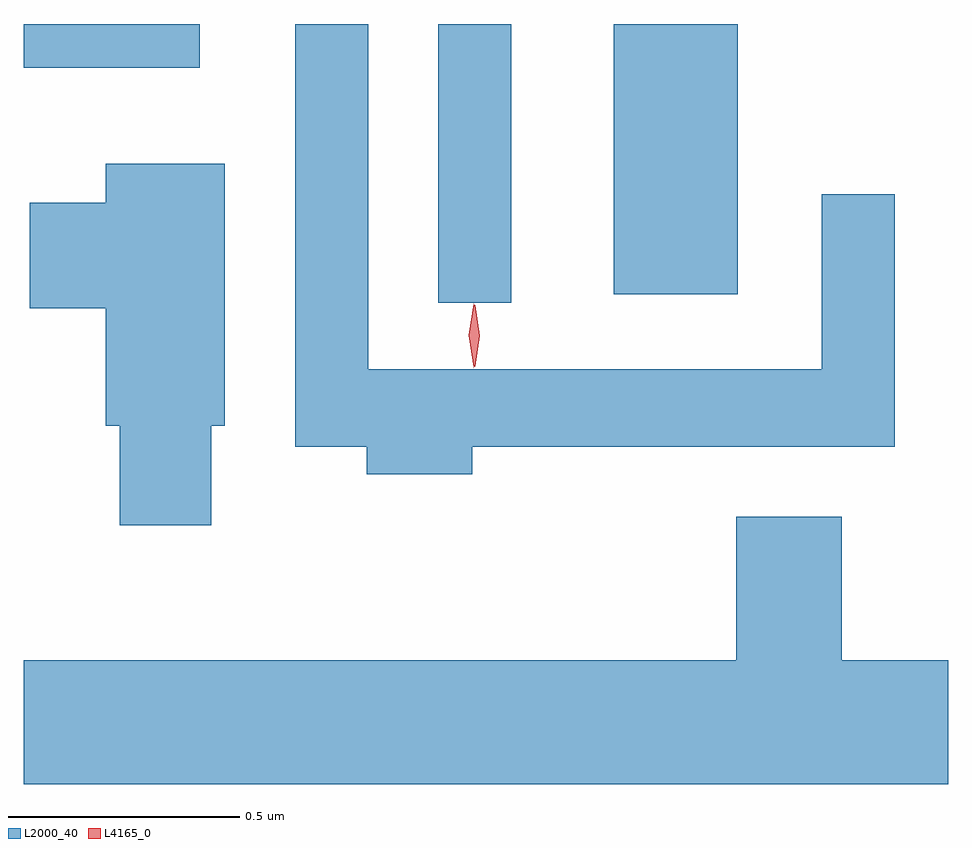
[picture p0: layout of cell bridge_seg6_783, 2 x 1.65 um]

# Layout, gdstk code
import gdstk
lib = gdstk.Library(unit=1e-6, precision=1e-09)
def R(c, l, rs):  # rectangles x0, y0, x1, y1
    for r in rs: c.add(gdstk.rectangle(r[:2], r[2:], *l))
def P(c, l, *ps):  # polygons
    for p in ps: c.add(gdstk.Polygon(p, *l))
L2000_40 = (2000, 40)
L4165_0 = (4165, 0)

bridge_seg6_783 = lib.new_cell('bridge_seg6_783')
R(bridge_seg6_783, L2000_40, [(404.316,1557.738,404.474,1558.341), (404.696,1557.756,404.964,1558.341), (403.419,1558.246,403.799,1558.341)])
P(bridge_seg6_783, L2000_40, [(404.389,1557.426),(405.304,1557.426),(405.304,1557.973),(405.146,1557.973),(405.146,1557.594),(404.164,1557.594),(404.164,1558.341),(404.006,1558.341),(404.006,1557.426),(404.161,1557.426),(404.161,1557.366),(404.389,1557.366)],
  [(403.824,1557.471),(403.854,1557.471),(403.854,1558.039),(403.596,1558.039),(403.596,1557.954),(403.431,1557.954),(403.431,1557.726),(403.596,1557.726),(403.596,1557.471),(403.626,1557.471),(403.626,1557.256),(403.824,1557.256)],
  [(405.419,1556.964),(405.189,1556.964),(405.189,1557.274),(404.961,1557.274),(404.961,1556.964),(403.419,1556.964),(403.419,1556.696),(405.419,1556.696)])
P(bridge_seg6_783, L4165_0, [(404.392,1557.597),(404.392,1557.598),(404.382,1557.667),(404.392,1557.736),(404.392,1557.736),(404.393,1557.736),(404.402,1557.667),(404.393,1557.598)],
  [(404.395,1557.599),(404.394,1557.6),(404.385,1557.666),(404.394,1557.732),(404.395,1557.733),(404.396,1557.732),(404.405,1557.666),(404.396,1557.6)])

lib.write_gds('bridge_seg6_783.gds')
